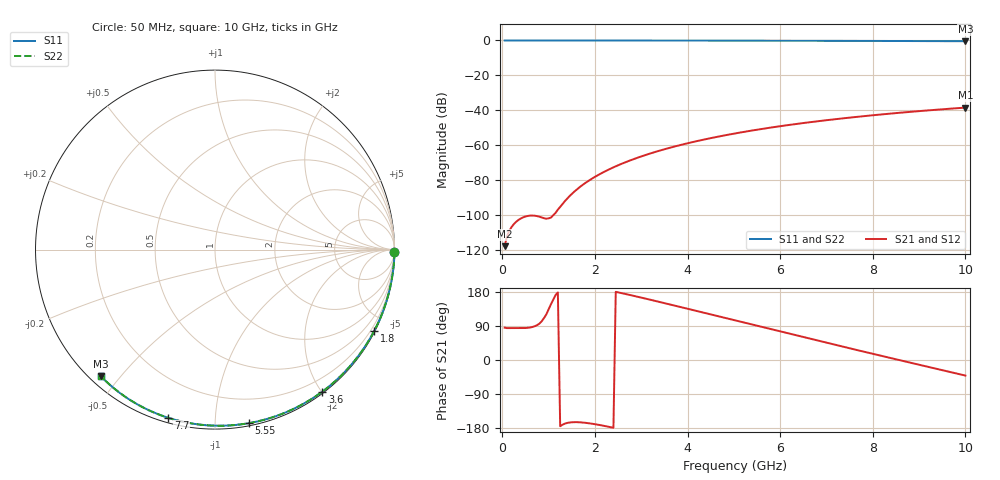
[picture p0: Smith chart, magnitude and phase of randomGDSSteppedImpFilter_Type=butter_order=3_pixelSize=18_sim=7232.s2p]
! freq	dB(S11)	phase(S11)	dB(S12)	phase(S12)
!  dB(S21)	phase(S21)	dB(S22)	phase(S22)
!S-par simulation data
#  GHz  S  DB  R 50
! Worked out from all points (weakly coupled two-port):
!   200 points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, 50 MHz to 10 GHz, reference 50 ohm
!   highest |S21| = -38.39 dB at 10 GHz (marker M1); lowest = -117.6 dB at 50 MHz (marker M2)
!   lowest |S11| = -0.4 dB at 10 GHz (marker M3), VSWR 39.06, Z = 1.53 - j22.3 ohm
!   |S11| at or under -10 dB: nowhere
!   |S22| runs from -0.4 to 0.0 dB; largest |S21 - S12| = 0
!   S11 on the Smith chart (normalised r, x): 50 MHz: open; 1.8 GHz: 0.04, -4.15; 3.6 GHz: 0.02, -2.01; 5.55 GHz: 0.02, -1.21; 7.7 GHz: 0.02, -0.76; 10 GHz: 0.03, -0.45
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0.05  -0.00 -0.8  -117.61 85.2  -117.61 85.2  -0.00 -0.8
0.9  -0.02 -13.7  -101.61 110.5  -101.61 110.5  -0.02 -13.7
1.75  -0.03 -26.3  -82.29 -165.1  -82.29 -165.1  -0.03 -26.3
1.8  -0.03 -27.1  -81.35 -165.8  -81.35 -165.8  -0.03 -27.1
1.85  -0.04 -27.8  -80.46 -166.6  -80.46 -166.6  -0.04 -27.8
1.9  -0.04 -28.5  -79.60 -167.4  -79.60 -167.4  -0.04 -28.5
2.05  -0.04 -30.7  -77.22 -170.4  -77.22 -170.4  -0.04 -30.7
2.25  -0.04 -33.7  -74.42 -175.0  -74.42 -175.0  -0.04 -33.7
2.45  -0.05 -36.6  -71.94 179.9  -71.94 179.9  -0.05 -36.6
2.65  -0.05 -39.5  -69.72 174.5  -69.72 174.5  -0.05 -39.5
3  -0.06 -44.5  -66.31 164.7  -66.31 164.7  -0.06 -44.5
3.4  -0.07 -50.1  -62.97 153.1  -62.97 153.1  -0.07 -50.1
3.6  -0.07 -52.9  -61.48 147.2  -61.48 147.2  -0.07 -52.9
4.3  -0.09 -62.5  -56.97 126.3  -56.97 126.3  -0.09 -62.5
5.05  -0.11 -72.5  -53.05 103.7  -53.05 103.7  -0.11 -72.5
5.55  -0.13 -79.0  -50.82 88.7  -50.82 88.7  -0.13 -79.0
6.1  -0.15 -86.0  -48.64 72.3  -48.64 72.3  -0.15 -86.0
6.7  -0.18 -93.5  -46.54 54.4  -46.54 54.4  -0.18 -93.5
7.7  -0.24 -105.5  -43.56 25.1  -43.56 25.1  -0.24 -105.5
8.35  -0.29 -113.1  -41.89 6.2  -41.89 6.2  -0.29 -113.1
9.15  -0.36 -122.3  -40.07 -16.8  -40.07 -16.8  -0.36 -122.3
10  -0.44 -132.0  -38.39 -41.1  -38.39 -41.1  -0.44 -132.0
